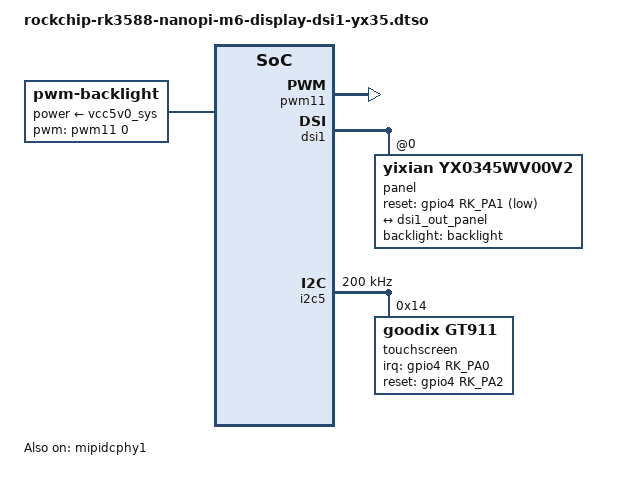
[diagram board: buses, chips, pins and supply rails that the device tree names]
/dts-v1/;
/plugin/;

#include <dt-bindings/pinctrl/rockchip.h>
#include <dt-bindings/gpio/gpio.h>
#include <dt-bindings/soc/rockchip,vop2.h>
#include <dt-bindings/interrupt-controller/irq.h>

/ {
	fragment@0 {
		target-path = "/";

		__overlay__ {
			backlight: backlight {
				compatible = "pwm-backlight";
				power-supply = <&vcc5v0_sys>;
				pwms = <&pwm11 0 25000 0>;
			};
    		};
  	};

	fragment@1 {
		target = <&pwm11>;

		__overlay__ {
			pinctrl-names = "default";
			pinctrl-0 = <&pwm11m3_pins>;
			status = "okay";
    		};
  	};

	fragment@2 {
		target = <&mipidcphy1>;

		__overlay__ {
			status = "okay";
		};
	};

	fragment@3 {
		target = <&dsi1>;

		__overlay__ {
			#address-cells = <1>;
			#size-cells = <0>;
			status = "okay";

			panel@0 {
				compatible = "yixian,yx0345wv00v2";
				reg = <0>;
				backlight = <&backlight>;
				pinctrl-names = "default";
				pinctrl-0 = <&lcd_rst1_gpio>;
				reset-gpios = <&gpio4 RK_PA1 GPIO_ACTIVE_LOW>;

				port {
					mipi_panel_in: endpoint {
						remote-endpoint = <&dsi1_out_panel>;
					};
				};
			};
		};
	};

	fragment@4 {
		target = <&dsi1_in>;

		__overlay__ {
			dsi1_in_vp2: endpoint {
				remote-endpoint = <&vp2_out_dsi1>;
			};
		};
	};

	fragment@5 {
		target = <&dsi1_out>;

		__overlay__ {
			dsi1_out_panel: endpoint {
				remote-endpoint = <&mipi_panel_in>;
			};
		};
	};

	fragment@6 {
		target = <&vp2>;

		__overlay__ {
			#address-cells = <1>;
			#size-cells = <0>;

			vp2_out_dsi1: endpoint@ROCKCHIP_VOP2_EP_MIPI1 {
				reg = <ROCKCHIP_VOP2_EP_MIPI1>;
				remote-endpoint = <&dsi1_in_vp2>;
			};
		};
	};

	fragment@7 {
		target = <&pinctrl>;

		__overlay__ {
			lcd {
				/omit-if-no-ref/
				lcd_rst1_gpio: lcd-rst1-gpio {
					rockchip,pins = <4 RK_PA1 RK_FUNC_GPIO &pcfg_pull_none>;
				};

				/omit-if-no-ref/
				touch_dsi1_gpio: touch-dsi1-gpio {
					rockchip,pins =
						<4 RK_PA0 RK_FUNC_GPIO &pcfg_pull_up>,
						<4 RK_PA2 RK_FUNC_GPIO &pcfg_pull_none>;
				};
			};
		};
	};

	fragment@8 {
		target = <&i2c5>;

		__overlay__ {
			clock-frequency = <200000>;
			pinctrl-0 = <&i2c5m2_xfer>;
			status = "okay";

			touchscreen@14 {
				compatible = "goodix,gt911";
				reg = <0x14>;
				interrupt-parent = <&gpio4>;
				interrupts = <RK_PA0 IRQ_TYPE_LEVEL_LOW>;
				irq-gpios = <&gpio4 RK_PA0 GPIO_ACTIVE_HIGH>;
				pinctrl-names = "default";
				pinctrl-0 = <&touch_dsi1_gpio>;
				reset-gpios = <&gpio4 RK_PA2 GPIO_ACTIVE_HIGH>;
			};
		};
	};
};

